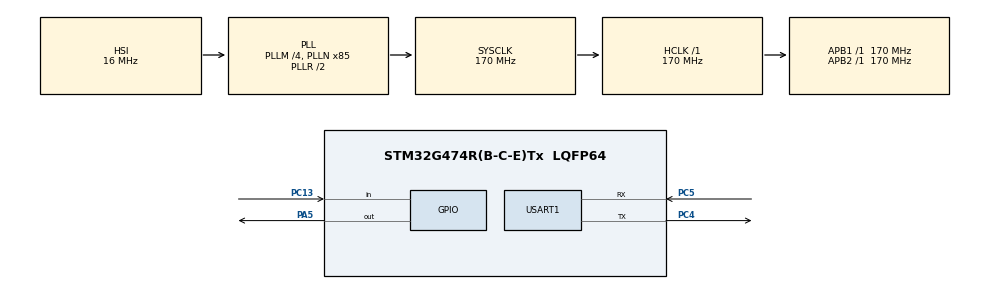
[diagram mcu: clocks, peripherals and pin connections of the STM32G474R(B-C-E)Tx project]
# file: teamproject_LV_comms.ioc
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Dma.Request0=USART1_TX
Dma.Request1=USART1_RX
Dma.USART1_RX.1.Direction=DMA_PERIPH_TO_MEMORY
Dma.USART1_RX.1.EventEnable=DISABLE
Dma.USART1_RX.1.Instance=DMA1_Channel2
Dma.USART1_RX.1.MemDataAlignment=DMA_MDATAALIGN_BYTE
Dma.USART1_RX.1.MemInc=DMA_MINC_ENABLE
Dma.USART1_RX.1.Mode=DMA_CIRCULAR
Dma.USART1_RX.1.PeriphDataAlignment=DMA_PDATAALIGN_BYTE
Dma.USART1_RX.1.PeriphInc=DMA_PINC_DISABLE
Dma.USART1_RX.1.Polarity=HAL_DMAMUX_REQ_GEN_RISING
Dma.USART1_RX.1.Priority=DMA_PRIORITY_LOW
Dma.USART1_RX.1.RequestNumber=1
Dma.USART1_RX.1.SignalID=NONE
Dma.USART1_RX.1.SyncEnable=DISABLE
Dma.USART1_RX.1.SyncPolarity=HAL_DMAMUX_SYNC_NO_EVENT
Dma.USART1_RX.1.SyncRequestNumber=1
Dma.USART1_RX.1.SyncSignalID=NONE
Dma.USART1_TX.0.Direction=DMA_MEMORY_TO_PERIPH
Dma.USART1_TX.0.EventEnable=DISABLE
Dma.USART1_TX.0.Instance=DMA1_Channel1
Dma.USART1_TX.0.MemDataAlignment=DMA_MDATAALIGN_BYTE
Dma.USART1_TX.0.MemInc=DMA_MINC_ENABLE
Dma.USART1_TX.0.Mode=DMA_NORMAL
Dma.USART1_TX.0.PeriphDataAlignment=DMA_PDATAALIGN_BYTE
Dma.USART1_TX.0.PeriphInc=DMA_PINC_DISABLE
Dma.USART1_TX.0.Polarity=HAL_DMAMUX_REQ_GEN_RISING
Dma.USART1_TX.0.Priority=DMA_PRIORITY_LOW
Dma.USART1_TX.0.RequestNumber=1
Dma.USART1_TX.0.SignalID=NONE
Dma.USART1_TX.0.SyncEnable=DISABLE
Dma.USART1_TX.0.SyncPolarity=HAL_DMAMUX_SYNC_NO_EVENT
Dma.USART1_TX.0.SyncRequestNumber=1
Dma.USART1_TX.0.SyncSignalID=NONE
Mcu.Family=STM32G4
Mcu.Name=STM32G474R(B-C-E)Tx
Mcu.Package=LQFP64
NVIC.DMA1_Channel1_IRQn=true\:0\:0\:false\:false\:true\:false\:true\:true
NVIC.DMA1_Channel2_IRQn=true\:0\:0\:false\:false\:true\:false\:true\:true
NVIC.PriorityGroup=NVIC_PRIORITYGROUP_4
NVIC.USART1_IRQn=true\:0\:0\:false\:false\:true\:true\:true\:true
PA13.Mode=Trace_Asynchronous_SW
PA13.Signal=SYS_JTMS-SWDIO
PA14.Mode=Trace_Asynchronous_SW
PA14.Signal=SYS_JTCK-SWCLK
PA5.Signal=GPIO_Output
PB3.Mode=Trace_Asynchronous_SW
PB3.Signal=SYS_JTDO-SWO
PC13.Signal=GPIO_Input
PC4.GPIO_Speed=GPIO_SPEED_FREQ_VERY_HIGH
PC4.Mode=Asynchronous
PC4.Signal=USART1_TX
PC5.GPIO_Speed=GPIO_SPEED_FREQ_VERY_HIGH
PC5.Mode=Asynchronous
PC5.Signal=USART1_RX
ProjectManager.HeapSize=0x200
ProjectManager.StackSize=0x400
ProjectManager.TargetToolchain=STM32CubeIDE
RCC.ADC12Freq_Value=170000000
RCC.ADC345Freq_Value=170000000
RCC.AHBFreq_Value=170000000
RCC.APB1Freq_Value=170000000
RCC.APB1TimFreq_Value=170000000
RCC.APB2Freq_Value=170000000
RCC.APB2TimFreq_Value=170000000
RCC.CortexFreq_Value=170000000
RCC.EXTERNAL_CLOCK_VALUE=12288000
RCC.HCLKFreq_Value=170000000
RCC.HSE_VALUE=24000000
RCC.HSI48_VALUE=48000000
RCC.HSI_VALUE=16000000
RCC.LSE_VALUE=32768
RCC.PLLM=RCC_PLLM_DIV4
RCC.PLLN=85
RCC.RTCClockSelection=RCC_RTCCLKSOURCE_LSE
RCC.SYSCLKFreq_VALUE=170000000
RCC.SYSCLKSource=RCC_SYSCLKSOURCE_PLLCLK
RCC.USBFreq_Value=170000000
RCC.VCOOutputFreq_Value=340000000
USART1.VirtualMode-Asynchronous=VM_ASYNC
VP_SYS_VS_DBSignals.Mode=DisableDeadBatterySignals
board=NUCLEO-G474RE

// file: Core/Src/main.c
/* USER CODE BEGIN Header */
/**
  ******************************************************************************
  * @file           : main.c
  * @brief          : Main program body
  ******************************************************************************
  * @attention
  *
  * Copyright (c) 2026 STMicroelectronics.
  * All rights reserved.
  *
  * This software is licensed under terms that can be found in the LICENSE file
  * in the root directory of this software component.
  * If no LICENSE file comes with this software, it is provided AS-IS.
  *
  ******************************************************************************
  */
/* USER CODE END Header */
#include "main.h"

/* USER CODE BEGIN Includes */

#include <string.h>
#include <stdio.h>

/* USER CODE END Includes */

/* USER CODE BEGIN PTD */

typedef struct {
    uint16_t id;
    uint8_t data[2];
} uart_msg_t;

/* USER CODE END PTD */

/* USER CODE BEGIN PD */

#define UART_DMA_RX_SZ 256 // UART circular DMA RX buffer size

/* UART message packet protocol */
#define UART_ID_VOLTAGE 0x0001
#define UART_ID_CURRENT 0x0002

/* USER CODE END PD */

UART_HandleTypeDef huart1;
DMA_HandleTypeDef hdma_usart1_tx;
DMA_HandleTypeDef hdma_usart1_rx;

/* USER CODE BEGIN PV */

// Variables storing UART RX data
static float target_voltage = 0.0f;

// UART TX variables
uint8_t tx_frame[1+2+2+1];
static volatile uint8_t uart_tx_busy = 0;

// Buffer for storing UART messages by circular DMA
static uint8_t uart_dma_rx[UART_DMA_RX_SZ];
static volatile uint16_t uart_dma_last_pos = 0;

// UART Debugging
typedef struct {
    volatile uint32_t irq_hits;
    volatile uint32_t rx_cb_hits;
    volatile uint32_t rx_events;
    volatile uint16_t last_size;
    volatile uint8_t last_bytes[8];
} uart_dbg_t;

uart_dbg_t g_uart_dbg = {0};

volatile uint32_t g_uart_err_hits = 0;
volatile uint32_t g_uart_last_err = 0;
volatile uint32_t g_uart_last_isr = 0;

static volatile uint8_t dbg_captured = 0;

static volatile uint16_t uart_dma_delta = 0;

static volatile uint16_t uart_idle_hits = 0;

/* USER CODE END PV */

void SystemClock_Config(void);
static void MX_GPIO_Init(void);
static void MX_DMA_Init(void);
static void MX_USART1_UART_Init(void);
/* USER CODE BEGIN PFP */

// === UART Debugging ===
static uint8_t xor_crc(const uint8_t *p, uint16_t n);

// === UART data TX, encoding and framing ===
void HAL_UART_TxCpltCallback(UART_HandleTypeDef *huart);
static void uart_send_voltage(float v);
static void uart_send_current(float i);
static void uart_send_msg(uint16_t id, const uint8_t *data);

// === UART data RX, parsing and processing ===
void HAL_UARTEx_RxEventCallback(UART_HandleTypeDef *huart, uint16_t Size);
static int parser_feed_byte(uint8_t b, uart_msg_t *out);
static void uart_rx_process_dma(void);
static void log_uart_data(const uart_msg_t *m);

/* USER CODE END PFP */

int main(void)
{

  /* MCU Configuration--------------------------------------------------------*/

  /* Reset of all peripherals, Initializes the Flash interface and the Systick. */
  HAL_Init();

  /* Configure the system clock */
  SystemClock_Config();

  /* Initialize all configured peripherals */
  MX_GPIO_Init();
  MX_DMA_Init();
  MX_USART1_UART_Init();
  /* USER CODE BEGIN 2 */

  /* UART initialization */
  HAL_UARTEx_ReceiveToIdle_DMA(&huart1, uart_dma_rx, UART_DMA_RX_SZ); // RX event interrupt called when buffer is full, half full or line is IDLE for 1 byte

  /* USER CODE END 2 */

  /* Infinite loop */
  /* USER CODE BEGIN WHILE */

  while (1)
  {

	 /* Sample UART TX for voltage and current readings */
      if (HAL_GPIO_ReadPin(GPIOC, GPIO_PIN_13) == GPIO_PIN_SET) {
          uart_send_voltage(250.3f);
          uart_send_current(7.52f);
          HAL_GPIO_WritePin(GPIOA, GPIO_PIN_5, GPIO_PIN_SET); // LED OFF
      } else {
          uart_send_voltage(567.8f);
          uart_send_current(5.71f);
          HAL_GPIO_WritePin(GPIOA, GPIO_PIN_5, GPIO_PIN_RESET); // LED ON
      }

      HAL_Delay(1000); // Large delay to test

	  /* Note that UART baud rate is 115200 bits per second, or 86.806 us per byte.
	   * For the 6 byte frame, transmission takes at least 520.836 us. */
  }

    /* USER CODE END WHILE */

}

void SystemClock_Config(void)
{
  RCC_OscInitTypeDef RCC_OscInitStruct = {0};
  RCC_ClkInitTypeDef RCC_ClkInitStruct = {0};

  /** Configure the main internal regulator output voltage
  */
  HAL_PWREx_ControlVoltageScaling(PWR_REGULATOR_VOLTAGE_SCALE1_BOOST);

  /** Initializes the RCC Oscillators according to the specified parameters
  * in the RCC_OscInitTypeDef structure.
  */
  RCC_OscInitStruct.OscillatorType = RCC_OSCILLATORTYPE_HSI;
  RCC_OscInitStruct.HSIState = RCC_HSI_ON;
  RCC_OscInitStruct.HSICalibrationValue = RCC_HSICALIBRATION_DEFAULT;
  RCC_OscInitStruct.PLL.PLLState = RCC_PLL_ON;
  RCC_OscInitStruct.PLL.PLLSource = RCC_PLLSOURCE_HSI;
  RCC_OscInitStruct.PLL.PLLM = RCC_PLLM_DIV4;
  RCC_OscInitStruct.PLL.PLLN = 85;
  RCC_OscInitStruct.PLL.PLLP = RCC_PLLP_DIV2;
  RCC_OscInitStruct.PLL.PLLQ = RCC_PLLQ_DIV2;
  RCC_OscInitStruct.PLL.PLLR = RCC_PLLR_DIV2;
  if (HAL_RCC_OscConfig(&RCC_OscInitStruct) != HAL_OK)
  {
    Error_Handler();
  }

  /** Initializes the CPU, AHB and APB buses clocks
  */
  RCC_ClkInitStruct.ClockType = RCC_CLOCKTYPE_HCLK|RCC_CLOCKTYPE_SYSCLK
                              |RCC_CLOCKTYPE_PCLK1|RCC_CLOCKTYPE_PCLK2;
  RCC_ClkInitStruct.SYSCLKSource = RCC_SYSCLKSOURCE_PLLCLK;
  RCC_ClkInitStruct.AHBCLKDivider = RCC_SYSCLK_DIV1;
  RCC_ClkInitStruct.APB1CLKDivider = RCC_HCLK_DIV1;
  RCC_ClkInitStruct.APB2CLKDivider = RCC_HCLK_DIV1;

  if (HAL_RCC_ClockConfig(&RCC_ClkInitStruct, FLASH_LATENCY_4) != HAL_OK)
  {
    Error_Handler();
  }
}

static void MX_USART1_UART_Init(void)
{

  huart1.Instance = USART1;
  huart1.Init.BaudRate = 115200;
  huart1.Init.WordLength = UART_WORDLENGTH_8B;
  huart1.Init.StopBits = UART_STOPBITS_1;
  huart1.Init.Parity = UART_PARITY_NONE;
  huart1.Init.Mode = UART_MODE_TX_RX;
  huart1.Init.HwFlowCtl = UART_HWCONTROL_NONE;
  huart1.Init.OverSampling = UART_OVERSAMPLING_16;
  huart1.Init.OneBitSampling = UART_ONE_BIT_SAMPLE_DISABLE;
  huart1.Init.ClockPrescaler = UART_PRESCALER_DIV1;
  huart1.AdvancedInit.AdvFeatureInit = UART_ADVFEATURE_NO_INIT;
  if (HAL_UART_Init(&huart1) != HAL_OK)
  {
    Error_Handler();
  }
  if (HAL_UARTEx_SetTxFifoThreshold(&huart1, UART_TXFIFO_THRESHOLD_1_8) != HAL_OK)
  {
    Error_Handler();
  }
  if (HAL_UARTEx_SetRxFifoThreshold(&huart1, UART_RXFIFO_THRESHOLD_1_8) != HAL_OK)
  {
    Error_Handler();
  }
  if (HAL_UARTEx_DisableFifoMode(&huart1) != HAL_OK)
  {
    Error_Handler();
  }

}

static void MX_DMA_Init(void)
{

  /* DMA controller clock enable */
  __HAL_RCC_DMAMUX1_CLK_ENABLE();
  __HAL_RCC_DMA1_CLK_ENABLE();

  /* DMA interrupt init */
  /* DMA1_Channel1_IRQn interrupt configuration */
  HAL_NVIC_SetPriority(DMA1_Channel1_IRQn, 0, 0);
  HAL_NVIC_EnableIRQ(DMA1_Channel1_IRQn);
  /* DMA1_Channel2_IRQn interrupt configuration */
  HAL_NVIC_SetPriority(DMA1_Channel2_IRQn, 0, 0);
  HAL_NVIC_EnableIRQ(DMA1_Channel2_IRQn);

}

static void MX_GPIO_Init(void)
{
  GPIO_InitTypeDef GPIO_InitStruct = {0};

  /* GPIO Ports Clock Enable */
  __HAL_RCC_GPIOC_CLK_ENABLE();
  __HAL_RCC_GPIOA_CLK_ENABLE();
  __HAL_RCC_GPIOB_CLK_ENABLE();

  /*Configure GPIO pin Output Level */
  HAL_GPIO_WritePin(GPIOA, GPIO_PIN_5, GPIO_PIN_RESET);

  /*Configure GPIO pin : PC13 */
  GPIO_InitStruct.Pin = GPIO_PIN_13;
  GPIO_InitStruct.Mode = GPIO_MODE_INPUT;
  GPIO_InitStruct.Pull = GPIO_NOPULL;
  HAL_GPIO_Init(GPIOC, &GPIO_InitStruct);

  /*Configure GPIO pin : PA5 */
  GPIO_InitStruct.Pin = GPIO_PIN_5;
  GPIO_InitStruct.Mode = GPIO_MODE_OUTPUT_PP;
  GPIO_InitStruct.Pull = GPIO_NOPULL;
  GPIO_InitStruct.Speed = GPIO_SPEED_FREQ_LOW;
  HAL_GPIO_Init(GPIOA, &GPIO_InitStruct);

}

/* USER CODE BEGIN 4 */

// === UART Debugging ===

void HAL_UART_ErrorCallback(UART_HandleTypeDef *huart)
{
    if (huart->Instance != USART1) return;

    g_uart_err_hits++;
    g_uart_last_err = huart->ErrorCode;
    g_uart_last_isr = huart->Instance->ISR;

    HAL_UART_AbortReceive(huart);
    uart_dma_last_pos = 0;
    HAL_UARTEx_ReceiveToIdle_DMA(&huart1, uart_dma_rx, UART_DMA_RX_SZ);
}

static uint8_t xor_crc(const uint8_t *p, uint16_t n)
{
	uint8_t c = 0;
	for(uint16_t i=0;i<n;i++) c ^= p[i];
	return c;
}

// === UART data TX, encoding and framing ===

void HAL_UART_TxCpltCallback(UART_HandleTypeDef *huart)
{
    if(huart->Instance == USART1) uart_tx_busy = 0;
}

static void uart_send_voltage(float v)
{
	int val = (int)(v * 10.0f + 0.5f);   // convert to xxx.x format
	uint8_t data[2];

	uint8_t d0 = (val / 1000) % 10;
	uint8_t d1 = (val / 100)  % 10;
	uint8_t d2 = (val / 10)   % 10;
	uint8_t d3 =  val % 10;

	data[0] = (d0 << 4) | d1;
	data[1] = (d2 << 4) | d3;

    uart_send_msg(UART_ID_VOLTAGE, data);
}

static void uart_send_current(float i)
{
	int val = (int)(i * 100.0f + 0.5f);   // convert to xx.xx format
	uint8_t data[2];

	uint8_t d0 = (val / 1000) % 10;
	uint8_t d1 = (val / 100)  % 10;
	uint8_t d2 = (val / 10)   % 10;
	uint8_t d3 =  val % 10;

	data[0] = (d0 << 4) | d1;
	data[1] = (d2 << 4) | d3;

    uart_send_msg(UART_ID_CURRENT, data);
}

static void uart_send_msg(uint16_t id, const uint8_t *data)
{
    while (uart_tx_busy) {}      // wait until previous TX is complete
    uart_tx_busy = 1;

    uint16_t idx = 0;
    tx_frame[idx++] = 0xA5;                 // SOF
    tx_frame[idx++] = (uint8_t)(id & 0xFF); // ID low byte
    tx_frame[idx++] = (uint8_t)(id >> 8);   // ID high byte

    tx_frame[idx++] = data[0];
    tx_frame[idx++] = data[1];

    uint8_t crc = xor_crc(tx_frame, idx);
    tx_frame[idx++] = crc;

    if(HAL_UART_Transmit_DMA(&huart1, tx_frame, idx) != HAL_OK) {
        uart_tx_busy = 0;
    }

}

// === UART data RX, parsing and processing ===

void HAL_UARTEx_RxEventCallback(UART_HandleTypeDef *huart, uint16_t Size)
{
	if (huart->Instance == USART1)
	{
		uart_rx_process_dma(); // Process received message
		uart_idle_hits++; // Count parser calls
	}
}

static int parser_feed_byte(uint8_t b, uart_msg_t *out)
{
    enum { S_SOF, S_ID0, S_ID1, S_DATA0, S_DATA1, S_CRC };
    static uint8_t st = S_SOF;
    static uint8_t buf[1+2+2];
    static uint8_t idx = 0;

    switch (st)
    {
    case S_SOF:
        if (b == 0xA5) {
            idx = 0;
            buf[idx++] = b;
            st = S_ID0;
        }
        break;

    case S_ID0:
        buf[idx++] = b;
        st = S_ID1;
        break;

    case S_ID1:
        buf[idx++] = b;
        st = S_DATA0;
        break;

    case S_DATA0:
        buf[idx++] = b;
        st = S_DATA1;
        break;

    case S_DATA1:
        buf[idx++] = b;
        st = S_CRC;
        break;

    case S_CRC:
    {
        uint8_t crc = xor_crc(buf, idx);
        if (crc == b)
        {
            out->id = (uint16_t)buf[1] | ((uint16_t)buf[2] << 8);
            out->data[0] = buf[3];
            out->data[1] = buf[4];
            st = S_SOF;
            return 1;
        }
        st = S_SOF;
        break;
    }
    }

    return 0;
}

static void uart_rx_process_dma(void)
{
    uart_msg_t m;
    uint16_t pos = UART_DMA_RX_SZ - __HAL_DMA_GET_COUNTER(huart1.hdmarx);

    if (pos != uart_dma_last_pos)
    {
        if (pos > uart_dma_last_pos)
        {
            for (uint16_t i = uart_dma_last_pos; i < pos; i++)
            {
                if (parser_feed_byte(uart_dma_rx[i], &m)) {
                    log_uart_data(&m);
                }
            }
        }
        else
        {
            for (uint16_t i = uart_dma_last_pos; i < UART_DMA_RX_SZ; i++)
            {
                if (parser_feed_byte(uart_dma_rx[i], &m)) {
                    log_uart_data(&m);
                }
            }
            for (uint16_t i = 0; i < pos; i++)
            {
                if (parser_feed_byte(uart_dma_rx[i], &m)) {
                    log_uart_data(&m);
                }
            }
        }

        uart_dma_last_pos = pos;
    }
}

static void log_uart_data(const uart_msg_t *m)
{
    uint8_t d0 = (m->data[0] >> 4) & 0x0F;
    uint8_t d1 =  m->data[0]       & 0x0F;
    uint8_t d2 = (m->data[1] >> 4) & 0x0F;
    uint8_t d3 =  m->data[1]       & 0x0F;

    // Check that each nibble must be a decimal digit 0..9
    if(d0 > 9 || d1 > 9 || d2 > 9 || d3 > 9) return;

    if(m->id == 0x01)
    {
        // Voltage format: xxx.x
        target_voltage = (float)(d0 * 100 + d1 * 10 + d2) + ((float)d3 / 10.0f);
    }

}

/* USER CODE END 4 */

void Error_Handler(void)
{
  __disable_irq();
  while (1)
  {
  }
}
